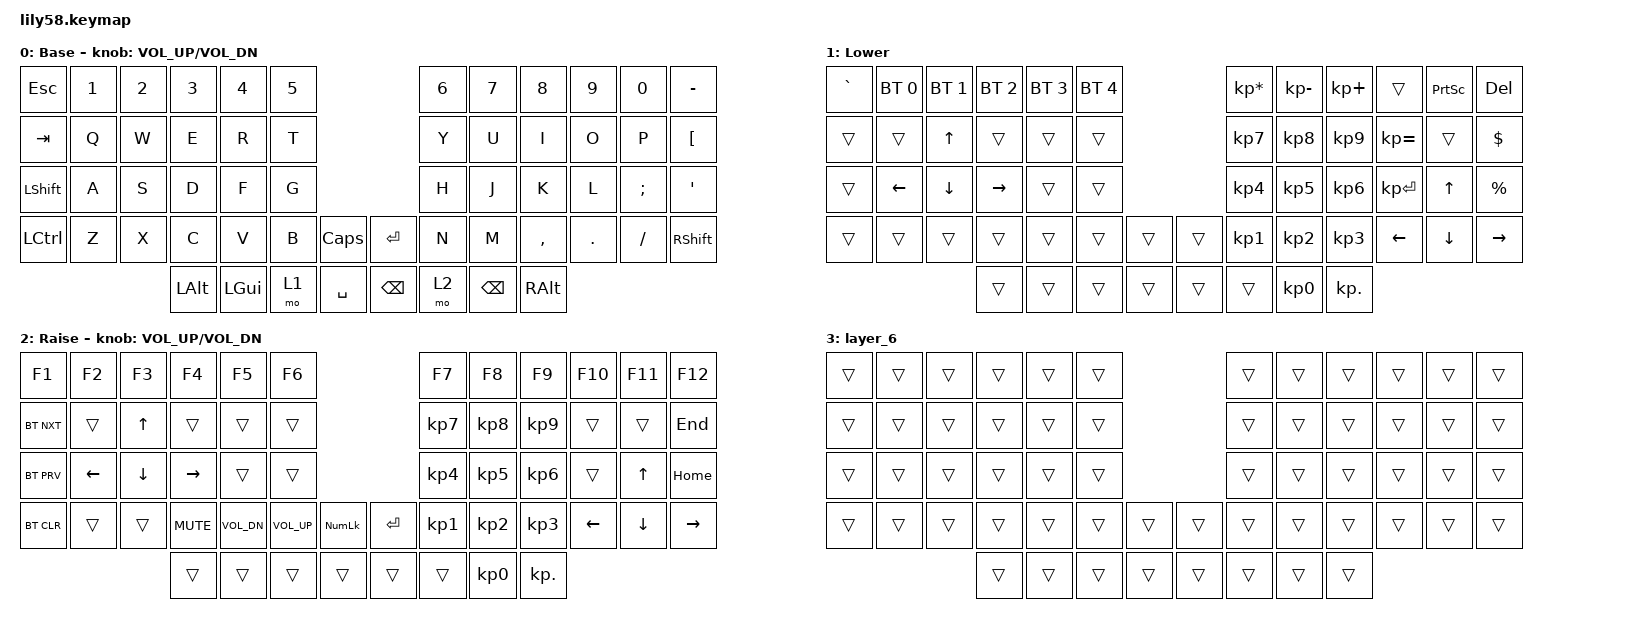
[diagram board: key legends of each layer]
/*
 * Copyright (c) 2020 The ZMK Contributors
 *
 * SPDX-License-Identifier: MIT
 */

#include <behaviors.dtsi>
#include <dt-bindings/zmk/bt.h>
#include <dt-bindings/zmk/keys.h>

/ {
    keymap {
        compatible = "zmk,keymap";

        default_layer {
            // ------------------------------------------------------------------------------------------------------------
            // |  ESC  |  1  |  2  |  3   |  4   |  5   |                   |  6   |  7    |  8    |  9   |   0   |   `   |
            // |  TAB  |  Q  |  W  |  E   |  R   |  T   |                   |  Y   |  U    |  I    |  O   |   P   |   -   |
            // |  CTRL |  A  |  S  |  D   |  F   |  G   |                   |  H   |  J    |  K    |  L   |   ;   |   '   |
            // | SHIFT |  Z  |  X  |  C   |  V   |  B   |   "["  |  |  "]"  |  N   |  M    |  ,    |  .   |   /   | SHIFT |
            //                     | ALT  | GUI  | LOWER|  SPACE |  | ENTER | RAISE| BSPC  | GUI   |

            display-name = "Base";
            bindings = <
&kp ESC         &kp NUMBER_1  &kp N2  &kp N3    &kp N4    &kp N5                                 &kp N6  &kp N7    &kp N8         &kp N9      &kp N0         &kp MINUS
&kp TAB         &kp Q         &kp W   &kp E     &kp R     &kp T                                  &kp Y   &kp U     &kp I          &kp O       &kp P          &kp LEFT_BRACKET
&kp LEFT_SHIFT  &kp A         &kp S   &kp D     &kp F     &kp G                                  &kp H   &kp J     &kp K          &kp L       &kp SEMICOLON  &kp SQT
&kp LCTRL       &kp Z         &kp X   &kp C     &kp V     &kp B   &kp CAPSLOCK    &kp ENTER      &kp N   &kp M     &kp COMMA      &kp PERIOD  &kp SLASH      &kp RSHFT
                                      &kp LALT  &kp LGUI  &mo 1   &kp SPACE       &kp BACKSPACE  &mo 2   &kp BSPC  &kp RIGHT_ALT
            >;

            sensor-bindings = <&inc_dec_kp C_VOL_UP C_VOL_DN>;
        };

        lower_layer {
            // ------------------------------------------------------------------------------------------------------------
            // | BTCLR | BT1 | BT2 |  BT3 |  BT4 |  BT5 |                   |      |       |       |      |       |       |
            // |  F1   |  F2 |  F3 |  F4  |  F5  |  F6  |                   |  F7  |  F8   |  F9   |  F10 |  F11  |  F12  |
            // |   `   |  !  |  @  |  #   |  $   |  %   |                   |  ^   |  &    |  *    |  (   |   )   |   ~   |
            // |       |     |     |      |      |      |        |  |       |      |  _    |  +    |  {   |   }   |  "|"  |
            //                     |      |      |      |        |  |       |      |       |       |

            display-name = "Lower";
            bindings = <
&kp GRAVE  &bt BT_SEL 0    &bt BT_SEL 1    &bt BT_SEL 2  &bt BT_SEL 3  &bt BT_SEL 4                    &kp KP_MULTIPLY  &kp KP_SUBTRACT  &kp KP_PLUS      &trans          &kp PRINTSCREEN  &kp DELETE
&trans     &trans          &kp UP_ARROW    &trans        &trans        &trans                          &kp KP_NUMBER_7  &kp KP_NUMBER_8  &kp KP_NUMBER_9  &kp KP_EQUAL    &trans           &kp DOLLAR
&trans     &kp LEFT_ARROW  &kp DOWN_ARROW  &kp RIGHT     &trans        &trans                          &kp KP_NUMBER_4  &kp KP_NUMBER_5  &kp KP_NUMBER_6  &kp KP_ENTER    &kp UP_ARROW     &kp PERCENT
&trans     &trans          &trans          &trans        &trans        &trans        &trans    &trans  &kp KP_NUMBER_1  &kp KP_NUMBER_2  &kp KP_NUMBER_3  &kp LEFT_ARROW  &kp DOWN_ARROW   &kp RIGHT
                                           &trans        &trans        &trans        &trans    &trans  &trans           &kp KP_NUMBER_0  &kp KP_DOT
            >;
        };

        raise_layer {
            // ------------------------------------------------------------------------------------------------------------
            // |       |     |     |      |      |      |                   |      |       |       |      |       |       |
            // |   `   |  1  |  2  |  3   |  4   |  5   |                   |  6   |   7   |   8   |  9   |   0   |       |
            // |   F1  |  F2 |  F3 |  F4  |  F5  |  F6  |                   |      |   <-  |   v   |  ^   |  ->   |       |
            // |   F7  |  F8 |  F9 |  F10 |  F11 |  F12 |        |  |       |  +   |   -   |   =   |  [   |   ]   |   \   |
            //                     |      |      |      |        |  |       |      |       |       |

            display-name = "Raise";
            bindings = <
&kp F1      &kp F2          &kp F3          &kp F4      &kp F5        &kp F6                                        &kp F7           &kp F8           &kp F9           &kp F10   &kp F11         &kp F12
&bt BT_NXT  &trans          &kp UP_ARROW    &trans      &trans        &trans                                        &kp KP_NUMBER_7  &kp KP_NUMBER_8  &kp KP_NUMBER_9  &trans    &trans          &kp END
&bt BT_PRV  &kp LEFT_ARROW  &kp DOWN_ARROW  &kp RIGHT   &trans        &trans                                        &kp KP_NUMBER_4  &kp KP_NUMBER_5  &kp KP_NUMBER_6  &trans    &kp UP_ARROW    &kp HOME
&bt BT_CLR  &trans          &trans          &kp K_MUTE  &kp C_VOL_DN  &kp C_VOLUME_UP  &kp KP_NUMLOCK    &kp ENTER  &kp KP_NUMBER_1  &kp KP_NUMBER_2  &kp KP_NUMBER_3  &kp LEFT  &kp DOWN_ARROW  &kp RIGHT
                                            &trans      &trans        &trans           &trans            &trans     &trans           &kp KP_NUMBER_0  &kp KP_DOT
            >;

            sensor-bindings = <&inc_dec_kp C_VOL_UP C_VOL_DN>;
        };

        extra_1 { status = "reserved"; };

        extra_2 { status = "reserved"; };

        extra_3 { status = "reserved"; };

        layer_6 {
            bindings = <
&trans  &trans  &trans  &trans  &trans  &trans                    &trans  &trans  &trans  &trans  &trans  &trans
&trans  &trans  &trans  &trans  &trans  &trans                    &trans  &trans  &trans  &trans  &trans  &trans
&trans  &trans  &trans  &trans  &trans  &trans                    &trans  &trans  &trans  &trans  &trans  &trans
&trans  &trans  &trans  &trans  &trans  &trans  &trans    &trans  &trans  &trans  &trans  &trans  &trans  &trans
                        &trans  &trans  &trans  &trans    &trans  &trans  &trans  &trans
            >;
        };
    };
};
